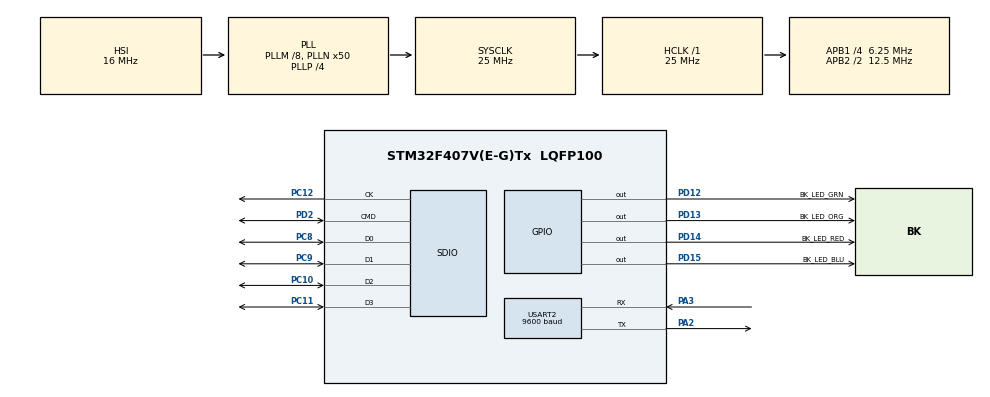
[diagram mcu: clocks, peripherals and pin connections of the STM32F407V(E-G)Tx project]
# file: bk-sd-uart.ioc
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Mcu.Family=STM32F4
Mcu.Name=STM32F407V(E-G)Tx
Mcu.Package=LQFP100
NVIC.PriorityGroup=NVIC_PRIORITYGROUP_0
PA2.Mode=Asynchronous
PA2.Signal=USART2_TX
PA3.Mode=Asynchronous
PA3.Signal=USART2_RX
PC10.Mode=SD_4_bits_Wide_bus
PC10.Signal=SDIO_D2
PC11.Mode=SD_4_bits_Wide_bus
PC11.Signal=SDIO_D3
PC12.Mode=SD_4_bits_Wide_bus
PC12.Signal=SDIO_CK
PC8.Mode=SD_4_bits_Wide_bus
PC8.Signal=SDIO_D0
PC9.Mode=SD_4_bits_Wide_bus
PC9.Signal=SDIO_D1
PD12.GPIO_Label=BK_LED_GRN
PD12.Signal=GPIO_Output
PD13.GPIO_Label=BK_LED_ORG
PD13.Signal=GPIO_Output
PD14.GPIO_Label=BK_LED_RED
PD14.Signal=GPIO_Output
PD15.GPIO_Label=BK_LED_BLU
PD15.Signal=GPIO_Output
PD2.Mode=SD_4_bits_Wide_bus
PD2.Signal=SDIO_CMD
ProjectManager.HeapSize=0x400
ProjectManager.StackSize=0x800
ProjectManager.TargetToolchain=TrueSTUDIO
RCC.48MHZClocksFreq_Value=14285714.285714285
RCC.AHBFreq_Value=25000000
RCC.APB1CLKDivider=RCC_HCLK_DIV4
RCC.APB1Freq_Value=6250000
RCC.APB1TimFreq_Value=12500000
RCC.APB2CLKDivider=RCC_HCLK_DIV2
RCC.APB2Freq_Value=12500000
RCC.APB2TimFreq_Value=25000000
RCC.CortexFreq_Value=25000000
RCC.HCLKFreq_Value=25000000
RCC.HSE_VALUE=8000000
RCC.HSI_VALUE=16000000
RCC.LSE_VALUE=32768
RCC.PLLM=8
RCC.PLLN=50
RCC.PLLP=RCC_PLLP_DIV4
RCC.PLLQ=7
RCC.SYSCLKFreq_VALUE=25000000
RCC.SYSCLKSource=RCC_SYSCLKSOURCE_PLLCLK
RCC.VCOOutputFreq_Value=100000000
USART2.BaudRate=9600
USART2.VirtualMode=VM_ASYNC
VP_FATFS_VS_SDIO.Mode=SDIO
board=STM32F4DISCOVERY

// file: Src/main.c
/**
  ******************************************************************************
  * File Name          : main.c
  * Description        : Main program body
  ******************************************************************************
  * This notice applies to any and all portions of this file
  * that are not between comment pairs USER CODE BEGIN and
  * USER CODE END. Other portions of this file, whether
  * inserted by the user or by software development tools
  * are owned by their respective copyright owners.
  *
  * Copyright (c) 2017 STMicroelectronics International N.V.
  * All rights reserved.
  *
  * Redistribution and use in source and binary forms, with or without
  * modification, are permitted, provided that the following conditions are met:
  *
  * 1. Redistribution of source code must retain the above copyright notice,
  *    this list of conditions and the following disclaimer.
  * 2. Redistributions in binary form must reproduce the above copyright notice,
  *    this list of conditions and the following disclaimer in the documentation
  *    and/or other materials provided with the distribution.
  * 3. Neither the name of STMicroelectronics nor the names of other
  *    contributors to this software may be used to endorse or promote products
  *    derived from this software without specific written permission.
  * 4. This software, including modifications and/or derivative works of this
  *    software, must execute solely and exclusively on microcontroller or
  *    microprocessor devices manufactured by or for STMicroelectronics.
  * 5. Redistribution and use of this software other than as permitted under
  *    this license is void and will automatically terminate your rights under
  *    this license.
  *
  * THIS SOFTWARE IS PROVIDED BY STMICROELECTRONICS AND CONTRIBUTORS "AS IS"
  * AND ANY EXPRESS, IMPLIED OR STATUTORY WARRANTIES, INCLUDING, BUT NOT
  * LIMITED TO, THE IMPLIED WARRANTIES OF MERCHANTABILITY, FITNESS FOR A
  * PARTICULAR PURPOSE AND NON-INFRINGEMENT OF THIRD PARTY INTELLECTUAL PROPERTY
  * RIGHTS ARE DISCLAIMED TO THE FULLEST EXTENT PERMITTED BY LAW. IN NO EVENT
  * SHALL STMICROELECTRONICS OR CONTRIBUTORS BE LIABLE FOR ANY DIRECT, INDIRECT,
  * INCIDENTAL, SPECIAL, EXEMPLARY, OR CONSEQUENTIAL DAMAGES (INCLUDING, BUT NOT
  * LIMITED TO, PROCUREMENT OF SUBSTITUTE GOODS OR SERVICES; LOSS OF USE, DATA,
  * OR PROFITS; OR BUSINESS INTERRUPTION) HOWEVER CAUSED AND ON ANY THEORY OF
  * LIABILITY, WHETHER IN CONTRACT, STRICT LIABILITY, OR TORT (INCLUDING
  * NEGLIGENCE OR OTHERWISE) ARISING IN ANY WAY OUT OF THE USE OF THIS SOFTWARE,
  * EVEN IF ADVISED OF THE POSSIBILITY OF SUCH DAMAGE.
  *
  ******************************************************************************
  */
#include "main.h"
#include "stm32f4xx_hal.h"
#include "fatfs.h"

SD_HandleTypeDef hsd;

UART_HandleTypeDef huart2;

/* USER CODE BEGIN PV */
/* Private variables ---------------------------------------------------------*/
FATFS SDFatFs; /* File system object for SD card logical drive */
FIL badFile;
char buffer[1024];
FRESULT res;
uint32_t bytesWritten, bytesRead;
/* USER CODE END PV */

void SystemClock_Config(void);
static void MX_GPIO_Init(void);
static void MX_USART2_UART_Init(void);
static void MX_SDIO_SD_Init(void);

/* USER CODE BEGIN PFP */
/* Private function prototypes -----------------------------------------------*/
void BK_Write_Data(void);
/* USER CODE END PFP */

int main(void)
{

  /* MCU Configuration----------------------------------------------------------*/

  /* Reset of all peripherals, Initializes the Flash interface and the Systick. */
  HAL_Init();

  /* Configure the system clock */
  SystemClock_Config();

  /* Initialize all configured peripherals */
  MX_GPIO_Init();
  MX_USART2_UART_Init();
  MX_SDIO_SD_Init();
  MX_FATFS_Init();

  /* USER CODE BEGIN 2 */
  HAL_GPIO_WritePin(GPIOD, BK_LED_GRN_Pin|BK_LED_ORG_Pin|BK_LED_RED_Pin|
    BK_LED_BLU_Pin, GPIO_PIN_RESET);
  if(retSD == 0){
	  res = f_mount(&SDFatFs, (TCHAR const*)SD_Path, 0);
	  if( res != FR_OK){
	  	  while(1){
	  		 HAL_GPIO_TogglePin(GPIOD, BK_LED_RED_Pin);
	  		 HAL_Delay(3000);
	  	  };
	  	} else {
	  		res = f_open(&badFile, "uart.log", FA_CREATE_ALWAYS | FA_WRITE);
	  		if( res != FR_OK){
			  /* 'bad.bk' file Open for write Error : set the red LED on */
			  if( res == FR_NO_FILESYSTEM ){
				  HAL_GPIO_WritePin(GPIOD, BK_LED_GRN_Pin, GPIO_PIN_SET );
				  if(f_mkfs((TCHAR const*)SD_Path, 0, 0) != FR_OK){
					  HAL_GPIO_WritePin(GPIOD, BK_LED_ORG_Pin, GPIO_PIN_SET);
				  } else {
					  res = f_open(&badFile, "uart.log", FA_CREATE_ALWAYS | FA_WRITE);
					  BK_Write_Data();
					  f_close(&badFile);
				  }
			  }
			  while(1){
				 HAL_GPIO_TogglePin(GPIOD, BK_LED_RED_Pin );
				 HAL_Delay(1000);
			  };
			} else {
				BK_Write_Data();
				f_close(&badFile);
			} // Unable to open/create a file
	  	} // Mounted properly
  }// SD Value
  /* USER CODE END 2 */

  /* Infinite loop */
  while (1)
  {

  }

}

/** System Clock Configuration
*/
void SystemClock_Config(void)
{

  RCC_OscInitTypeDef RCC_OscInitStruct;
  RCC_ClkInitTypeDef RCC_ClkInitStruct;

    /**Configure the main internal regulator output voltage
    */
  __HAL_RCC_PWR_CLK_ENABLE();

  __HAL_PWR_VOLTAGESCALING_CONFIG(PWR_REGULATOR_VOLTAGE_SCALE1);

    /**Initializes the CPU, AHB and APB busses clocks
    */
  RCC_OscInitStruct.OscillatorType = RCC_OSCILLATORTYPE_HSI;
  RCC_OscInitStruct.HSIState = RCC_HSI_ON;
  RCC_OscInitStruct.HSICalibrationValue = 16;
  RCC_OscInitStruct.PLL.PLLState = RCC_PLL_ON;
  RCC_OscInitStruct.PLL.PLLSource = RCC_PLLSOURCE_HSI;
  RCC_OscInitStruct.PLL.PLLM = 8;
  RCC_OscInitStruct.PLL.PLLN = 50;
  RCC_OscInitStruct.PLL.PLLP = RCC_PLLP_DIV4;
  RCC_OscInitStruct.PLL.PLLQ = 7;
  if (HAL_RCC_OscConfig(&RCC_OscInitStruct) != HAL_OK)
  {
    _Error_Handler(__FILE__, __LINE__);
  }

    /**Initializes the CPU, AHB and APB busses clocks
    */
  RCC_ClkInitStruct.ClockType = RCC_CLOCKTYPE_HCLK|RCC_CLOCKTYPE_SYSCLK
                              |RCC_CLOCKTYPE_PCLK1|RCC_CLOCKTYPE_PCLK2;
  RCC_ClkInitStruct.SYSCLKSource = RCC_SYSCLKSOURCE_PLLCLK;
  RCC_ClkInitStruct.AHBCLKDivider = RCC_SYSCLK_DIV1;
  RCC_ClkInitStruct.APB1CLKDivider = RCC_HCLK_DIV4;
  RCC_ClkInitStruct.APB2CLKDivider = RCC_HCLK_DIV2;

  if (HAL_RCC_ClockConfig(&RCC_ClkInitStruct, FLASH_LATENCY_0) != HAL_OK)
  {
    _Error_Handler(__FILE__, __LINE__);
  }

    /**Configure the Systick interrupt time
    */
  HAL_SYSTICK_Config(HAL_RCC_GetHCLKFreq()/1000);

    /**Configure the Systick
    */
  HAL_SYSTICK_CLKSourceConfig(SYSTICK_CLKSOURCE_HCLK);

  /* SysTick_IRQn interrupt configuration */
  HAL_NVIC_SetPriority(SysTick_IRQn, 0, 0);
}

/* SDIO init function */
static void MX_SDIO_SD_Init(void)
{

  hsd.Instance = SDIO;
  hsd.Init.ClockEdge = SDIO_CLOCK_EDGE_RISING;
  hsd.Init.ClockBypass = SDIO_CLOCK_BYPASS_DISABLE;
  hsd.Init.ClockPowerSave = SDIO_CLOCK_POWER_SAVE_DISABLE;
  hsd.Init.BusWide = SDIO_BUS_WIDE_1B;
  hsd.Init.HardwareFlowControl = SDIO_HARDWARE_FLOW_CONTROL_DISABLE;
  hsd.Init.ClockDiv = 0;

}

/* USART2 init function */
static void MX_USART2_UART_Init(void)
{

  huart2.Instance = USART2;
  huart2.Init.BaudRate = 9600;
  huart2.Init.WordLength = UART_WORDLENGTH_8B;
  huart2.Init.StopBits = UART_STOPBITS_1;
  huart2.Init.Parity = UART_PARITY_NONE;
  huart2.Init.Mode = UART_MODE_TX_RX;
  huart2.Init.HwFlowCtl = UART_HWCONTROL_NONE;
  huart2.Init.OverSampling = UART_OVERSAMPLING_16;
  if (HAL_UART_Init(&huart2) != HAL_OK)
  {
    _Error_Handler(__FILE__, __LINE__);
  }

}

/** Configure pins as
        * Analog
        * Input
        * Output
        * EVENT_OUT
        * EXTI
*/
static void MX_GPIO_Init(void)
{

  GPIO_InitTypeDef GPIO_InitStruct;

  /* GPIO Ports Clock Enable */
  __HAL_RCC_GPIOA_CLK_ENABLE();
  __HAL_RCC_GPIOD_CLK_ENABLE();
  __HAL_RCC_GPIOC_CLK_ENABLE();

  /*Configure GPIO pin Output Level */
  HAL_GPIO_WritePin(GPIOD, BK_LED_GRN_Pin|BK_LED_ORG_Pin|BK_LED_RED_Pin|BK_LED_BLU_Pin, GPIO_PIN_RESET);

  /*Configure GPIO pins : BK_LED_GRN_Pin BK_LED_ORG_Pin BK_LED_RED_Pin BK_LED_BLU_Pin */
  GPIO_InitStruct.Pin = BK_LED_GRN_Pin|BK_LED_ORG_Pin|BK_LED_RED_Pin|BK_LED_BLU_Pin;
  GPIO_InitStruct.Mode = GPIO_MODE_OUTPUT_PP;
  GPIO_InitStruct.Pull = GPIO_NOPULL;
  GPIO_InitStruct.Speed = GPIO_SPEED_FREQ_LOW;
  HAL_GPIO_Init(GPIOD, &GPIO_InitStruct);

}

/* USER CODE BEGIN 4 */
void BK_Write_Data(void){
	while(1){
		HAL_UART_Receive(&huart2,(uint8_t *)buffer,sizeof(buffer),100);
		res = f_write(&badFile, buffer, strlen(buffer), (void *)&bytesWritten);
	}
}
/* USER CODE END 4 */

void _Error_Handler(char * file, int line)
{
  while(1)
  {
  }
}

/************************ (C) COPYRIGHT STMicroelectronics *****END OF FILE****/
